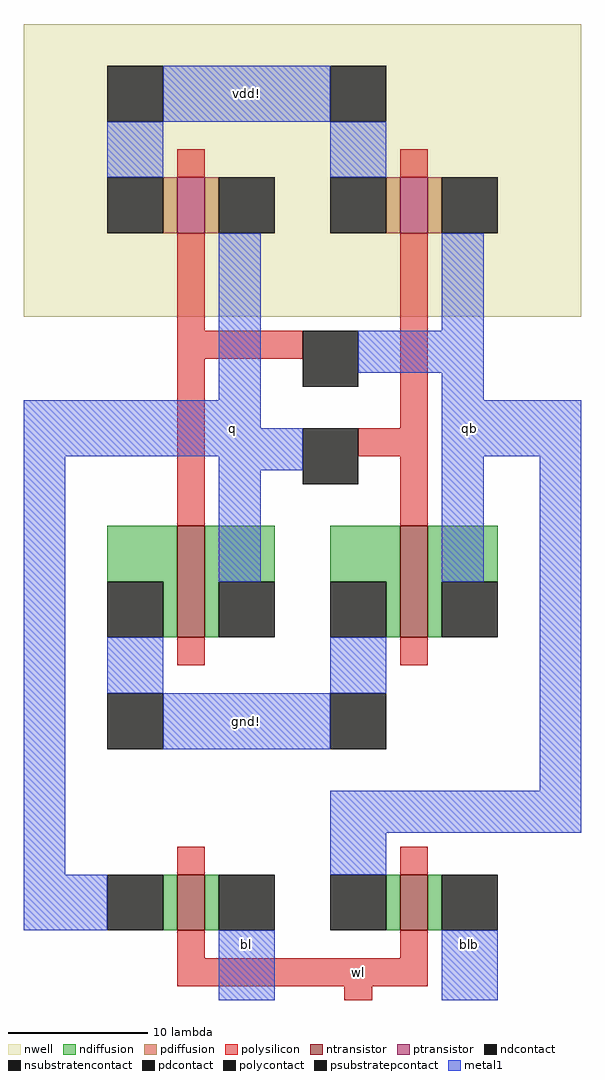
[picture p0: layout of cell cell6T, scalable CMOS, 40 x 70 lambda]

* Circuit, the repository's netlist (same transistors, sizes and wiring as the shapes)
* SPICE3 file created from cell6T.ext - technology: scmos

.option scale=0.1u

M1000 q qb vdd vdd pfet w=4 l=2
+  ad=20 pd=18 as=40 ps=36
M1001 qb q vdd vdd pfet w=4 l=2
+  ad=20 pd=18 as=0 ps=0
M1002 q qb gnd gnd nfet w=8 l=2
+  ad=60 pd=44 as=80 ps=52
M1003 bl wl q gnd nfet w=4 l=2
+  ad=20 pd=18 as=0 ps=0
M1004 qb q gnd gnd nfet w=8 l=2
+  ad=60 pd=44 as=0 ps=0
M1005 blb wl qb gnd nfet w=4 l=2
+  ad=20 pd=18 as=0 ps=0

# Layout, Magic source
magic
tech scmos
<< nwell >>
rect -13 -6 27 15
<< ntransistor >>
rect -2 -29 0 -21
rect 14 -29 16 -21
rect -2 -50 0 -46
rect 14 -50 16 -46
<< ptransistor >>
rect -2 0 0 4
rect 14 0 16 4
<< ndiffusion >>
rect -7 -25 -2 -21
rect -3 -29 -2 -25
rect 0 -25 5 -21
rect 0 -29 1 -25
rect 9 -25 14 -21
rect 13 -29 14 -25
rect 16 -25 21 -21
rect 16 -29 17 -25
rect -3 -50 -2 -46
rect 0 -50 1 -46
rect 13 -50 14 -46
rect 16 -50 17 -46
<< pdiffusion >>
rect -3 0 -2 4
rect 0 0 1 4
rect 13 0 14 4
rect 16 0 17 4
<< ndcontact >>
rect -7 -29 -3 -25
rect 1 -29 5 -25
rect 9 -29 13 -25
rect 17 -29 21 -25
rect -7 -50 -3 -46
rect 1 -50 5 -46
rect 9 -50 13 -46
rect 17 -50 21 -46
<< pdcontact >>
rect -7 0 -3 4
rect 1 0 5 4
rect 9 0 13 4
rect 17 0 21 4
<< psubstratepcontact >>
rect -7 -37 -3 -33
rect 9 -37 13 -33
<< nsubstratencontact >>
rect -7 8 -3 12
rect 9 8 13 12
<< polysilicon >>
rect -2 4 0 6
rect 14 4 16 6
rect -2 -7 0 0
rect -2 -9 7 -7
rect -2 -21 0 -9
rect 14 -14 16 0
rect 11 -16 16 -14
rect 14 -21 16 -16
rect -2 -31 0 -29
rect 14 -31 16 -29
rect -2 -46 0 -44
rect 14 -46 16 -44
rect -2 -52 0 -50
rect 14 -52 16 -50
rect -2 -54 16 -52
rect 10 -55 12 -54
<< polycontact >>
rect 7 -11 11 -7
rect 7 -18 11 -14
<< metal1 >>
rect -3 8 9 12
rect -7 4 -3 8
rect 9 4 13 8
rect 1 -12 4 0
rect 17 -7 20 0
rect 11 -10 20 -7
rect -13 -14 4 -12
rect 17 -12 20 -10
rect -13 -16 7 -14
rect -13 -46 -10 -16
rect 1 -17 7 -16
rect 1 -25 4 -17
rect 17 -16 27 -12
rect 17 -25 20 -16
rect -7 -33 -3 -29
rect 9 -33 13 -29
rect -3 -37 9 -33
rect 24 -40 27 -16
rect 9 -43 27 -40
rect 9 -46 13 -43
rect -13 -50 -7 -46
rect 1 -55 5 -50
rect 17 -55 21 -50
<< labels >>
rlabel metal1 3 10 3 10 5 vdd!
rlabel metal1 2 -14 2 -14 1 q
rlabel metal1 19 -14 19 -14 1 qb
rlabel metal1 3 -35 3 -35 1 gnd!
rlabel metal1 3 -51 3 -51 1 bl
rlabel metal1 19 -51 19 -51 1 blb
rlabel polysilicon 11 -53 11 -53 1 wl
<< end >>
